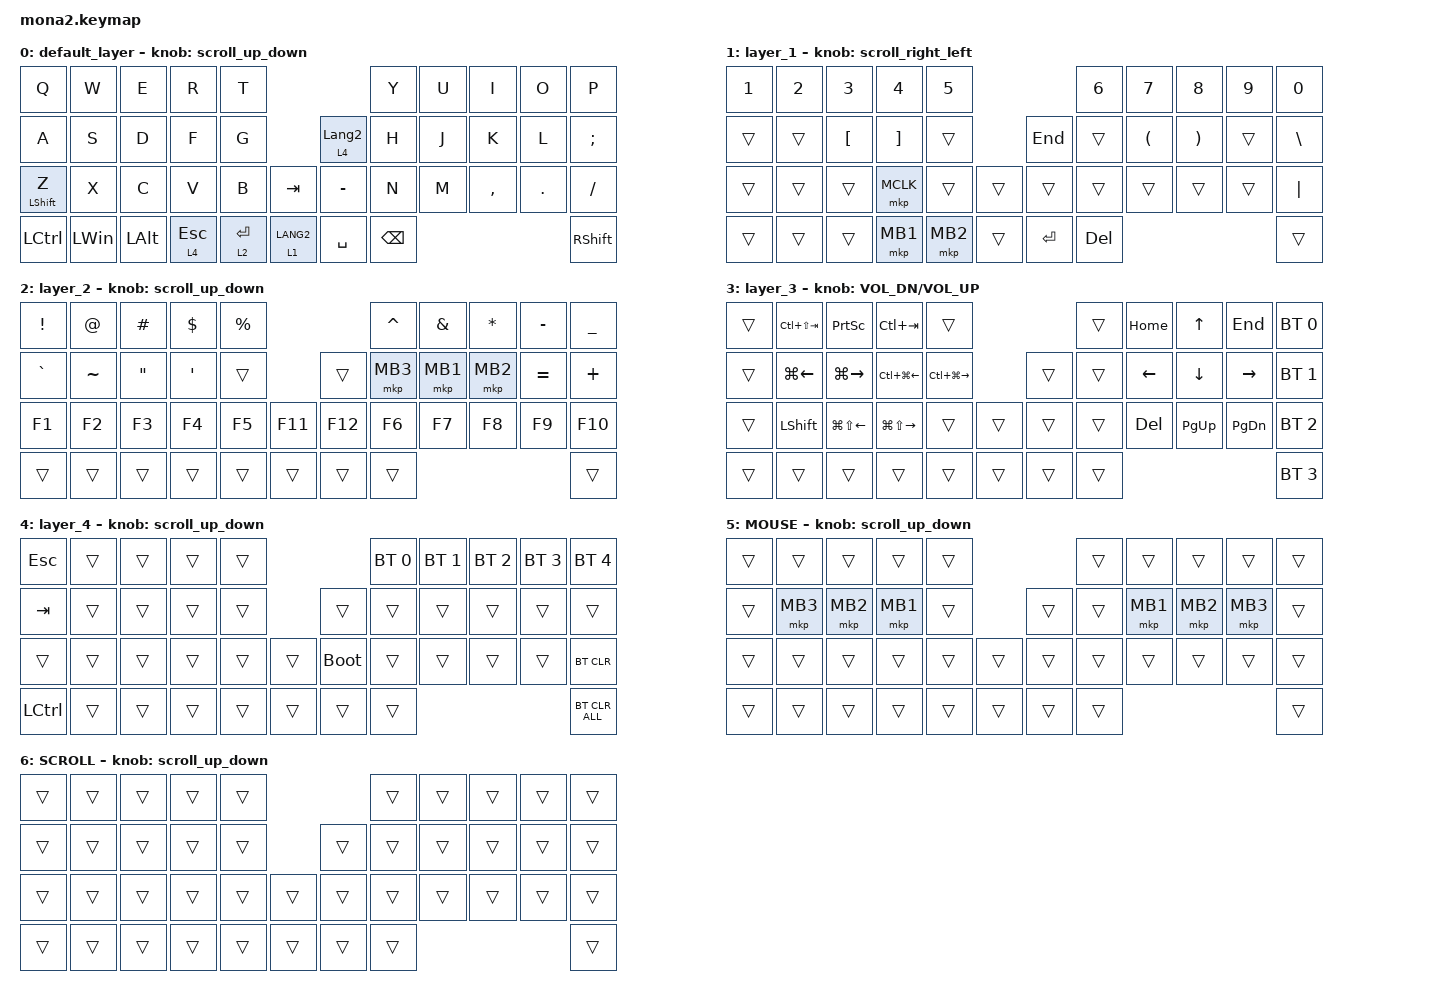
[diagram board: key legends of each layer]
#include <input/processors.dtsi>
#include <dt-bindings/zmk/input_transform.h>
#include <zephyr/dt-bindings/input/input-event-codes.h>
#include <behaviors.dtsi>
#include <dt-bindings/zmk/bt.h>
#include <dt-bindings/zmk/keys.h>
#include <dt-bindings/zmk/pointing.h>

#define ZMK_POINTING_DEFAULT_SCRL_VAL 100
#define MOUSE 5
#define SCROLL 6

&mt {
    flavor = "balanced";
    quick-tap-ms = <0>;
};

&lt {
    quick-tap-ms = <300>;
    flavor = "balanced";
};

/ {
    combos {
        compatible = "zmk,combos";

        layer4_ESC {
            bindings = <&lt 4 ESC>;
            key-positions = <39 38>;
        };

        tab {
            bindings = <&kp TAB>;
            key-positions = <11 12>;
        };
    };

    macros {
        to_layer_0: to_layer_0 {
            compatible = "zmk,behavior-macro-one-param";
            #binding-cells = <1>;
            bindings = <&to 0 &macro_param_1to1 &kp MACRO_PLACEHOLDER>;
            label = "TO_LAYER_0";
        };
    };

    behaviors {
        lt_to_layer_0: lt_to_layer_0 {
            compatible = "zmk,behavior-hold-tap";
            label = "LAYER_TAP_TO_0";
            bindings = <&mo>, <&to_layer_0>;

            #binding-cells = <2>;
            tapping-term-ms = <200>;
        };

        scroll_up_down: mouse_wheel_up_down {
            compatible = "zmk,behavior-sensor-rotate";
            #sensor-binding-cells = <0>;
            bindings = <&msc SCRL_DOWN>, <&msc SCRL_UP>;

            tap-ms = <20>;
        };

        scroll_right_left: mouse_wheel_right_left {
            compatible = "zmk,behavior-sensor-rotate";
            #sensor-binding-cells = <0>;
            bindings = <&msc SCRL_LEFT>, <&msc SCRL_RIGHT>;

            tap-ms = <20>;
        };
    };

    keymap {
        compatible = "zmk,keymap";

        default_layer {
            bindings = <
&kp Q             &kp W         &kp E         &kp R                 &kp T                                                                          &kp Y          &kp U  &kp I      &kp O    &kp P
&kp A             &kp S         &kp D         &kp F                 &kp G                                             &lt_to_layer_0 4 LANGUAGE_2  &kp H          &kp J  &kp K      &kp L    &kp SEMICOLON
&mt LEFT_SHIFT Z  &kp X         &kp C         &kp V                 &kp B                   &kp TAB                   &kp MINUS                    &kp N          &kp M  &kp COMMA  &kp DOT  &kp SLASH
&kp LEFT_CONTROL  &kp LEFT_WIN  &kp LEFT_ALT  &lt_to_layer_0 4 ESC  &lt_to_layer_0 2 ENTER  &lt_to_layer_0 1 LANG2    &kp SPACE                    &kp BACKSPACE                             &kp RIGHT_SHIFT
            >;

            sensor-bindings = <&scroll_up_down>;
        };

        layer_1 {
            bindings = <
&kp NUMBER_1  &kp NUMBER_2  &kp NUMBER_3      &kp NUMBER_4       &kp NUMBER_5                       &kp NUMBER_6  &kp NUMBER_7          &kp NUMBER_8           &kp NUMBER_9  &kp NUMBER_0
&trans        &trans        &kp LEFT_BRACKET  &kp RIGHT_BRACKET  &trans                  &kp END    &trans        &kp LEFT_PARENTHESIS  &kp RIGHT_PARENTHESIS  &trans        &kp BACKSLASH
&trans        &trans        &trans            &mkp MCLK          &trans        &trans    &trans     &trans        &trans                &trans                 &trans        &kp PIPE
&trans        &trans        &trans            &mkp MB1           &mkp MB2      &trans    &kp ENTER  &kp DEL                                                                  &trans
            >;

            sensor-bindings = <&scroll_right_left>;
        };

        layer_2 {
            bindings = <
&kp EXCLAMATION  &kp AT_SIGN  &kp POUND          &kp DOLLAR  &kp PERCENT                      &kp CARET  &kp AMPERSAND  &kp ASTERISK  &kp MINUS  &kp UNDERSCORE
&kp GRAVE        &kp TILDE    &kp DOUBLE_QUOTES  &kp SQT     &trans                  &trans   &mkp MB3   &mkp MB1       &mkp MB2      &kp EQUAL  &kp PLUS
&kp F1           &kp F2       &kp F3             &kp F4      &kp F5       &kp F11    &kp F12  &kp F6     &kp F7         &kp F8        &kp F9     &kp F10
&trans           &trans       &trans             &trans      &trans       &trans     &trans   &trans                                             &trans
            >;

            sensor-bindings = <&scroll_up_down>;
        };

        layer_3 {
            bindings = <
&trans  &kp LC(LS(TAB))     &kp PRINTSCREEN         &kp LC(TAB)              &trans                                     &trans  &kp HOME        &kp UP_ARROW    &kp END          &bt BT_SEL 0
&trans  &kp LG(LEFT_ARROW)  &kp LG(RIGHT_ARROW)     &kp LC(LG(LEFT_ARROW))   &kp LC(LG(RIGHT_ARROW))            &trans  &trans  &kp LEFT_ARROW  &kp DOWN_ARROW  &kp RIGHT_ARROW  &bt BT_SEL 1
&trans  &kp LEFT_SHIFT      &kp LG(LS(LEFT_ARROW))  &kp LG(LS(RIGHT_ARROW))  &trans                   &trans    &trans  &trans  &kp DELETE      &kp PAGE_UP     &kp PAGE_DOWN    &bt BT_SEL 2
&trans  &trans              &trans                  &trans                   &trans                   &trans    &trans  &trans                                                   &bt BT_SEL 3
            >;

            sensor-bindings = <&inc_dec_kp C_VOL_DN C_VOL_UP>;
        };

        layer_4 {
            bindings = <
&kp ESCAPE  &trans  &trans  &trans  &trans                         &bt BT_SEL 0  &bt BT_SEL 1  &bt BT_SEL 2  &bt BT_SEL 3  &bt BT_SEL 4
&kp TAB     &trans  &trans  &trans  &trans            &trans       &trans        &trans        &trans        &trans        &trans
&trans      &trans  &trans  &trans  &trans  &trans    &bootloader  &trans        &trans        &trans        &trans        &bt BT_CLR
&kp LCTRL   &trans  &trans  &trans  &trans  &trans    &trans       &trans                                                  &bt BT_CLR_ALL
            >;

            sensor-bindings = <&scroll_up_down>;
        };

        MOUSE {
            bindings = <
&trans  &trans    &trans    &trans    &trans                    &trans  &trans    &trans    &trans    &trans
&trans  &mkp MB3  &mkp MB2  &mkp MB1  &trans            &trans  &trans  &mkp MB1  &mkp MB2  &mkp MB3  &trans
&trans  &trans    &trans    &trans    &trans  &trans    &trans  &trans  &trans    &trans    &trans    &trans
&trans  &trans    &trans    &trans    &trans  &trans    &trans  &trans                                &trans
            >;

            sensor-bindings = <&scroll_up_down>;
        };

        SCROLL {
            bindings = <
&trans  &trans  &trans  &trans  &trans                    &trans  &trans  &trans  &trans  &trans
&trans  &trans  &trans  &trans  &trans            &trans  &trans  &trans  &trans  &trans  &trans
&trans  &trans  &trans  &trans  &trans  &trans    &trans  &trans  &trans  &trans  &trans  &trans
&trans  &trans  &trans  &trans  &trans  &trans    &trans  &trans                          &trans
            >;

            sensor-bindings = <&scroll_up_down>;
        };
    };
};
